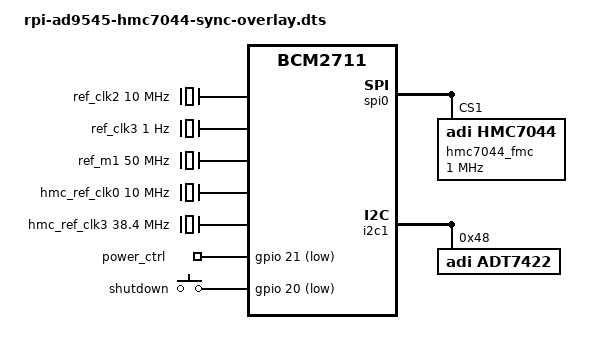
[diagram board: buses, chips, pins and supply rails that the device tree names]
/dts-v1/;
/plugin/;

/* AD-SYNCHRONA14-EBZ Rev. B - DT */

#define REF_DIV		6


//#undef MASTER

//#define MASTER		1
#define CLOCK_DIST	1

#define PLL_FREQ	2949120000
#define CLKIN1_FREQ	(PLL_FREQ / REF_DIV)

/ {
	#include <dt-bindings/clock/ad9545.h>
	#include <dt-bindings/iio/frequency/hmc7044.h>
	#include <dt-bindings/gpio/gpio.h>
	#include <dt-bindings/jesd204/device-states.h>


	compatible = "brcm,bcm2835", "brcm,bcm2708", "brcm,bcm2709", "brcm,bcm2711";

	fragment@0 {

		target-path = "/";
		__overlay__ {

			ref_clk2: ref_clk_2 {
				compatible = "fixed-clock";
				#clock-cells = <1>;

				clock-frequency  = <10000000>;
				clock-output-names = "Ref-B";
			};

			ref_clk3: ref_clk_3 {
				compatible = "fixed-clock";
				#clock-cells = <1>;

				clock-frequency  = <1>;
				clock-output-names = "Ref-BB";
			};

			ref_m1: ref_m1_clk {
				compatible = "fixed-clock";
				#clock-cells = <1>;

				clock-frequency  = <50000000>;
				clock-output-names = "Ref-M1";
			};

			hmc_ref_clk0: hmc_ref_clk_0 {
				compatible = "fixed-clock";
				#clock-cells = <1>;

				clock-frequency  = <10000000>;
				clock-output-names = "HMC-REF_CLKIN0";
			};

			hmc_ref_clk1: hmc_ref_clk_1 {
				compatible = "fixed-clock";
				#clock-cells = <1>;

				clock-frequency  = <CLKIN1_FREQ>;
				clock-output-names = "HMC-REF_CLKIN1";
			};

			hmc_ref_clk3: hmc_ref_clk_3 {
				compatible = "fixed-clock";
				#clock-cells = <1>;

				clock-frequency  = <38400000>;
				clock-output-names = "HMC-REF_CLKIN3";
			};

			top_device@0 {
				compatible = "adi,iio-fake-platform-device";
				adi,faked-dev = <&top_device>;
				adi,attribute-names =
					"jesd204_fsm_ctrl", "jesd204_fsm_error",
					"jesd204_fsm_paused", "jesd204_fsm_resume",
					"jesd204_fsm_state";
				label = "top_device";
			};

			top_device: jesd204-top-device {
				compatible = "adi,jesd204-top-device-1.0";

				jesd204-device;
				#jesd204-cells = <2>;
				jesd204-top-device = <0>; /* This is the TOP device for TOPOLOGY 1*/
				jesd204-link-ids = <0>;
				//jesd204-ignore-errors;

				jesd204-stop-states = <
					JESD204_FSM_STATE_CLK_SYNC_STAGE1
					JESD204_FSM_STATE_CLK_SYNC_STAGE2
					JESD204_FSM_STATE_CLK_SYNC_STAGE3>;

				jesd204-inputs =
					<&hmc7044_fmc 0 0>;

				adi,jesd-links {
					#size-cells = <0>;
					#address-cells = <1>;

					rx_jesd_l0: link@0 {
						reg = <0>;

						adi,sample-rate = /bits/ 64 <122880000>;

						adi,subclass = <0>;			/* JESD SUBCLASS 0,1,2 */
						adi,version = <2>;			/* JESD VERSION 0=204A,1=204B,2=204C */
						adi,dual-link = <0>;			/* JESD Dual Link Mode */
						adi,converters-per-device = <2>;	/* JESD M */
						adi,octets-per-frame = <4>;		/* JESD F */
						adi,frames-per-multiframe = <32>;	/* JESD K */
						adi,converter-resolution = <16>;	/* JESD N */
						adi,bits-per-sample = <16>;		/* JESD NP' */
						adi,control-bits-per-sample = <0>;	/* JESD CS */
						adi,lanes-per-device = <2>;		/* JESD L */
						adi,samples-per-converter-per-frame = <4>; /* JESD S */
						adi,high-density = <0>;			/* JESD HD */
						adi,scrambling = <1>;
					};

				};
			};
		};
	};

	fragment@1 {
		target = <&spi0>;
		__overlay__ {
			compatible = "brcm,bcm2835-spi";

			#address-cells = <0x1>;
			#size-cells = <0>;
			status = "okay";

			hmc7044_fmc: hmc7044@1 {
				reg = <0x1>;

				#address-cells = <1>;
				#size-cells = <0>;
				#clock-cells = <1>;

				compatible = "adi,hmc7044";
				spi-max-frequency = <1000000>;

				jesd204-device;
				#jesd204-cells = <2>;
				jesd204-sysref-provider;

				adi,jesd204-max-sysref-frequency-hz = <2000000>; /* 2 MHz */

				adi,pll1-clkin-frequencies = <38400000 38400000 38400000 38400000>;

				/*
					HMC7044 Input Clocking Priorities:
					CLKIN2 -> CLKIN0 -> CLKIN1 -> CLKIN3
					Where:
						- CLKIN2 - AD9545
						- CLKIN0 - J23/J24
						- CLKIN1 - J25/J26
						- CLKIN3 - 40 MHz or 38.4 MHz TCXO
				*/


				adi,pll1-ref-autorevert-enable;

				adi,pll1-loop-bandwidth-hz = <200>;

				adi,sync-pin-mode = <0>;

				adi,hmc-two-level-tree-sync-en;

#ifdef MASTER
				adi,pll1-ref-prio-ctrl = <0xFF>; /* CLKIN 3 */
				adi,clkin0-buffer-mode = <0x00>;
				adi,clkin1-buffer-mode = <0x00>;
				adi,clkin2-buffer-mode = <0x00>;
				adi,clkin3-buffer-mode = <0x07>;
				clocks = <&hmc_ref_clk3 0>;
				clock-names = "clkin3";
#else
				adi,pll1-ref-prio-ctrl = <0x55>; /* CLKIN 1 */
				adi,clkin1-vco-in-enable;
				adi,clkin0-rf-sync-enable;
				adi,clkin0-buffer-mode = <0x0b>; /* Needs HW modification - remove AC couble Caps */
				adi,clkin1-buffer-mode = <0x07>;
				clocks = <&hmc_ref_clk0 0>, <&hmc_ref_clk1 0>, <&hmc_ref_clk3 0>;
				clock-names = "clkin0", "clkin1", "clkin3";
#endif

				/* depends on VCXO_SELECT_PI */
				adi,vcxo-frequency = <122880000>;
				adi,pll2-output-frequency = <PLL_FREQ>;
				adi,sysref-timer-divider = <1024>;
				adi,pulse-generator-mode = <HMC7044_PULSE_GEN_1_PULSE>;

				adi,oscin-buffer-mode = <0x15>;

				adi,gpi-controls = <0x00 0x00 0x00 0x00>;
				adi,gpo-controls = <0x1f 0x2b 0x00 0x00>;

				clock-output-names = "HMC7044_OUT0", "HMC7044_OUT1",
						     "HMC7044_OUT2", "HMC7044_OUT3",
						     "HMC7044_OUT4", "HMC7044_OUT5",
						     "HMC7044_OUT6", "HMC7044_OUT7",
						     "HMC7044_OUT8", "HMC7044_OUT9",
						     "HMC7044_OUT10", "HMC7044_OUT11",
						     "HMC7044_OUT12", "HMC7044_OUT13";

				/*
				 * Channels in CMOS mode should configure
				 * adi,driver-impedance-mode to:
				 * 0 - no output
				 * 1 - N output
				 * 2 - P ourput
				 * 3 - both
				 * Depending on the desired output pin.
				 */
				hmc7044_car_c6: channel@6 {
					reg = <6>;
					adi,extended-name = "RFSYNC_2_CLKOUT6_CH6";
					adi,divider = <1024>; /* set by the jesd204-fsm */
					adi,driver-mode = <HMC7044_DRIVER_MODE_LVPECL>;
					adi,startup-mode-dynamic-enable;
					adi,high-performance-mode-disable;
					adi,force-mute-enable;
				};

				hmc7044_car_c7: channel@7 {
					reg = <7>;
					adi,extended-name = "REFCLK_1_CLKOUT7_CH4";
					adi,divider = <REF_DIV>;
					adi,driver-mode = <HMC7044_DRIVER_MODE_LVPECL>;
				};

				hmc7044_car_c11: channel@11 {
					reg = <11>;
					adi,extended-name = "RFSYNC_1_CLKOUT11_CH5";
					adi,divider = <1024>; /* set by the jesd204-fsm */
					adi,driver-mode = <HMC7044_DRIVER_MODE_LVPECL>;
					adi,startup-mode-dynamic-enable;
					adi,high-performance-mode-disable;
					adi,force-mute-enable;
				};

				hmc7044_car_c10: channel@10 {
					reg = <10>;
					adi,extended-name = "REFCLK_1_CLKOUT10_CH3";
					adi,divider = <REF_DIV>;
					adi,driver-mode = <HMC7044_DRIVER_MODE_LVPECL>;
				};
			};
		};
	};

	fragment@2 {
		target = <&gpio>;
		__overlay__ {

			gpio_overrides: gpio_overrides {
				/* GPIO_4_HMC7044_CAR - 4
				 * GPIO_1_HMC7044_CAR - 17
				 * GPIO_2_HMC7044_CAR - 27
				 * GPIO_3_HMC7044_CAR - 22
				 * RESETB_AD9545_PI - 25
				 * RESET_HMC7044_CAR_PI - 5
				 * VCXO_SELECT_PI - 6
				 * GPIO19_PI - 19
				 * GPIO26_PI - 26
				 * GPIO23_PI - 16 - SYNC Enable
				 */

				pin-25-reset-high {
					pins = "gpio25";
					function = "gpio_out";
					bias-pull-up;
					output-high;
				};

				pin-5-reset-low {
					pins = "gpio5";
					function = "gpio_out";
					bias-pull-down;
				};

				pin-6-vcxo-select {
					pins = "gpio6";
					function = "gpio_out";
					//bias-pull-up;
					output-high;

					bias-pull-down;
				};

				pin-12-red_led {
					pins = "gpio12";
					function = "gpio_out";
					bias-pull-up;
					output-high;
					export;
				};

				pin-16-sync-en {
					pins = "gpio23";
					function = "gpio_out";
					bias-pull-down;
				};

				/*
				pin-40-power-off-ok {
					pins = "gpio21";
					function = "gpio_out";
					bias-pull-up;
					output-high;
				};
				*/
			};
		};
	};

	fragment@3 {
		target-path = "/";
		__overlay__ {
			power_ctrl: power_ctrl {
				compatible = "gpio-poweroff";
				gpios = <&gpio 21 (GPIO_ACTIVE_LOW | GPIO_PULL_UP)>;
				input;
			};
		};
	};

	fragment@4 {
		target-path = "/soc";
		__overlay__ {
			shutdown_button: shutdown_button@3 {
				compatible = "gpio-keys";
				status = "okay";

				button: shutdown {
					label = "shutdown";
					linux,code = <116>; // KEY_POWER
					gpios = <&gpio 20 (GPIO_ACTIVE_LOW | GPIO_PULL_UP)>;
					debounce-interval = <100>;
				};
			};
		};
	};

	fragment@5 {
		target = <&spidev0>;
		__overlay__ {
			status = "disabled";
		};
	};

	fragment@6 {
		target = <&spidev1>;
		__overlay__ {
			status = "disabled";
		};
	};

	fragment@7 {
		target = <&gpio>;
		__overlay__ {
			pinctrl-names = "default";
			pinctrl-0 = <&gpio_overrides>;
		};
	};

	fragment@8 {
		target = <&i2c1>;
		__overlay__ {
			compatible = "brcm,bcm2711-i2c";
			status = "okay";

			#address-cells = <1>;
			#size-cells = <0>;

			adt7422@48 {
				compatible = "adi,adt7422";
				reg = <0x48>;
			};
		};
	};
};
